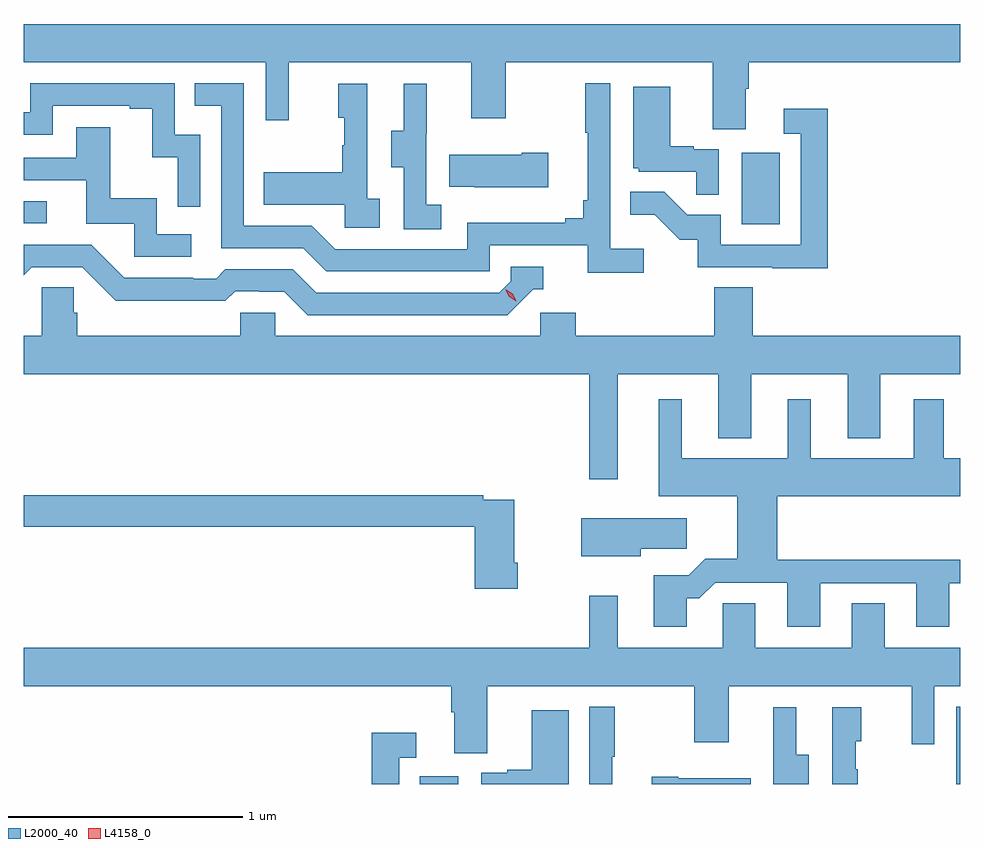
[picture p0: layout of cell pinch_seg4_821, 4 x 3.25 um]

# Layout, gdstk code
import gdstk
lib = gdstk.Library(unit=1e-6, precision=1e-09)
def R(c, l, rs):  # rectangles x0, y0, x1, y1
    for r in rs: c.add(gdstk.rectangle(r[:2], r[2:], *l))
def P(c, l, *ps):  # polygons
    for p in ps: c.add(gdstk.Polygon(p, *l))
L2000_40 = (2000, 40)
L4158_0 = (4158, 0)

pinch_seg4_821 = lib.new_cell('pinch_seg4_821')
R(pinch_seg4_821, L2000_40, [(818.888,797.734,819.052,797.767), (821.178,797.734,821.196,798.063), (820.262,800.124,820.426,800.431), (817.196,800.13,817.294,800.223)])
P(pinch_seg4_821, L2000_40, [(820.279,800.704),(820.292,800.704),(820.292,800.816),(821.196,800.816),(821.196,800.98),(817.196,800.98),(817.196,800.816),(818.229,800.816),(818.229,800.568),(818.327,800.568),(818.327,800.816),(819.107,800.816),(819.107,800.577),(819.255,800.577),(819.255,800.816),(820.139,800.816),(820.139,800.53),(820.279,800.53)],
  [(819.844,800.02),(819.702,800.02),(819.702,800.728),(819.594,800.728),(819.594,800.515),(819.605,800.515),(819.605,800.227),(819.586,800.227),(819.586,800.15),(819.509,800.15),(819.509,800.131),(819.09,800.131),(819.09,800.019),(818.526,800.019),(818.427,800.118),(818.136,800.118),(818.136,800.727),(817.927,800.727),(817.927,800.631),(818.04,800.631),(818.04,800.022),(818.39,800.022),(818.489,799.923),(819.186,799.923),(819.186,800.034),(819.605,800.034),(819.605,799.918),(819.844,799.918)],
  [(817.95,800.508),(817.842,800.508),(817.842,800.727),(817.224,800.727),(817.224,800.604),(817.196,800.604),(817.196,800.508),(817.32,800.508),(817.32,800.631),(817.649,800.631),(817.649,800.619),(817.745,800.619),(817.745,800.411),(817.854,800.411),(817.854,800.199),(817.95,800.199)],
  [(818.98,800.207),(818.916,800.207),(818.916,800.511),(818.918,800.511),(818.918,800.725),(818.819,800.725),(818.819,800.523),(818.765,800.523),(818.765,800.368),(818.82,800.368),(818.82,800.104),(818.98,800.104)],
  [(818.716,800.234),(818.664,800.234),(818.664,800.725),(818.54,800.725),(818.54,800.58),(818.566,800.58),(818.566,800.462),(818.556,800.462),(818.556,800.347),(818.221,800.347),(818.221,800.207),(818.568,800.207),(818.568,800.109),(818.716,800.109)],
  [(820.164,800.445),(820.058,800.445),(820.058,800.458),(819.958,800.458),(819.958,800.713),(819.8,800.713),(819.8,800.364),(819.822,800.364),(819.822,800.349),(820.069,800.349),(820.069,800.251),(820.164,800.251)],
  [(820.631,800.617),(820.443,800.617),(820.443,800.511),(820.515,800.511),(820.515,800.037),(820.173,800.037),(820.173,800.166),(820.029,800.166),(819.931,800.264),(819.787,800.264),(819.787,800.165),(819.891,800.165),(819.998,800.058),(820.075,800.058),(820.075,799.941),(820.393,799.941),(820.393,799.936),(820.631,799.936)],
  [(817.912,800.082),(817.764,800.082),(817.764,800.236),(817.565,800.236),(817.565,800.539),(817.421,800.539),(817.421,800.409),(817.196,800.409),(817.196,800.313),(817.463,800.313),(817.463,800.127),(817.668,800.127),(817.668,799.986),(817.912,799.986)],
  [(819.436,800.43),(819.323,800.43),(819.323,800.422),(819.013,800.422),(819.013,800.285),(819.121,800.285),(819.121,800.282),(819.436,800.282)],
  [(819.372,799.848),(819.415,799.848),(819.415,799.944),(819.276,799.944),(819.276,799.881),(819.228,799.833),(818.445,799.833),(818.346,799.932),(818.057,799.932),(818.018,799.893),(817.919,799.893),(817.919,799.896),(817.626,799.896),(817.485,800.037),(817.196,800.037),(817.196,799.907),(817.23,799.941),(817.446,799.941),(817.588,799.799),(817.824,799.799),(817.824,799.797),(818.057,799.797),(818.099,799.839),(818.202,799.839),(818.202,799.836),(818.309,799.836),(818.408,799.737),(819.261,799.737)],
  [(819.733,799.484),(820.163,799.484),(820.163,799.211),(820.303,799.211),(820.303,799.484),(820.715,799.484),(820.715,799.211),(820.855,799.211),(820.855,799.484),(821.196,799.484),(821.196,799.648),(820.31,799.648),(820.31,799.856),(820.145,799.856),(820.145,799.648),(819.554,799.648),(819.554,799.746),(819.402,799.746),(819.402,799.648),(818.271,799.648),(818.271,799.746),(818.121,799.746),(818.121,799.648),(817.424,799.648),(817.424,799.746),(817.409,799.746),(817.409,799.856),(817.272,799.856),(817.272,799.648),(817.196,799.648),(817.196,799.484),(819.612,799.484),(819.612,799.035),(819.733,799.035)],
  [(820.027,798.527),(820.082,798.527),(820.149,798.594),(820.457,798.594),(820.457,798.405),(820.597,798.405),(820.597,798.591),(821.009,798.591),(821.009,798.405),(821.149,798.405),(821.149,798.591),(821.196,798.591),(821.196,798.692),(820.415,798.692),(820.415,798.962),(821.196,798.962),(821.196,799.126),(821.125,799.126),(821.125,799.378),(820.997,799.378),(820.997,799.126),(820.558,799.126),(820.558,799.378),(820.46,799.378),(820.46,799.126),(820.006,799.126),(820.006,799.378),(819.908,799.378),(819.908,798.962),(820.244,798.962),(820.244,798.695),(820.106,798.695),(820.036,798.625),(819.887,798.625),(819.887,798.405),(820.027,798.405)],
  [(819.305,798.679),(819.292,798.679),(819.292,798.948),(819.158,798.948),(819.158,798.968),(817.196,798.968),(817.196,798.832),(819.122,798.832),(819.122,798.567),(819.305,798.567)],
  [(819.832,798.739),(820.027,798.739),(820.027,798.868),(819.578,798.868),(819.578,798.707),(819.832,798.707)],
  [(819.175,798.152),(820.06,798.152),(820.06,797.913),(820.207,797.913),(820.207,798.152),(820.988,798.152),(820.988,797.904),(821.085,797.904),(821.085,798.152),(821.196,798.152),(821.196,798.316),(820.873,798.316),(820.873,798.506),(820.733,798.506),(820.733,798.316),(820.321,798.316),(820.321,798.506),(820.182,798.506),(820.182,798.316),(819.733,798.316),(819.733,798.538),(819.612,798.538),(819.612,798.316),(817.196,798.316),(817.196,798.152),(819.023,798.152),(819.023,798.04),(819.035,798.04),(819.035,797.866),(819.175,797.866)],
  [(819.709,797.851),(819.721,797.851),(819.721,798.064),(819.612,798.064),(819.612,797.734),(819.709,797.734)],
  [(820.759,797.798),(820.749,797.798),(820.749,797.916),(820.774,797.916),(820.774,798.061),(820.65,798.061),(820.65,797.734),(820.759,797.734)],
  [(820.549,797.859),(820.495,797.859),(820.495,798.061),(820.397,798.061),(820.397,797.847),(820.398,797.847),(820.398,797.734),(820.549,797.734)],
  [(819.523,798.049),(819.365,798.049),(819.365,797.794),(819.261,797.794),(819.261,797.781),(819.15,797.781),(819.15,797.734),(819.523,797.734)],
  [(818.799,797.847),(818.872,797.847),(818.872,797.953),(818.683,797.953),(818.683,797.734),(818.799,797.734)],
  [(820.301,797.758),(819.991,797.758),(819.991,797.766),(819.879,797.766),(819.879,797.734),(820.301,797.734)])
P(pinch_seg4_821, L4158_0, [(819.3,799.795),(819.269,799.815),(819.252,799.848),(819.252,799.848),(819.253,799.848),(819.284,799.828),(819.3,799.796),(819.3,799.795)])

lib.write_gds('pinch_seg4_821.gds')
